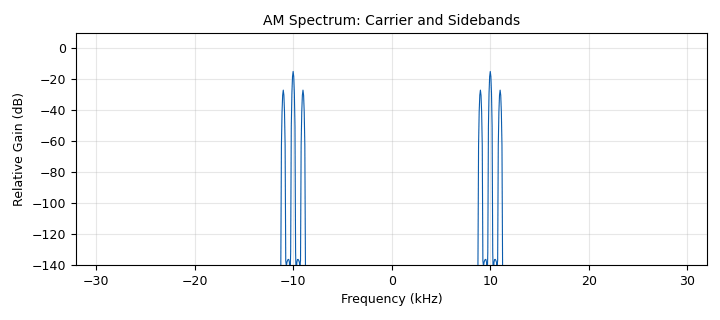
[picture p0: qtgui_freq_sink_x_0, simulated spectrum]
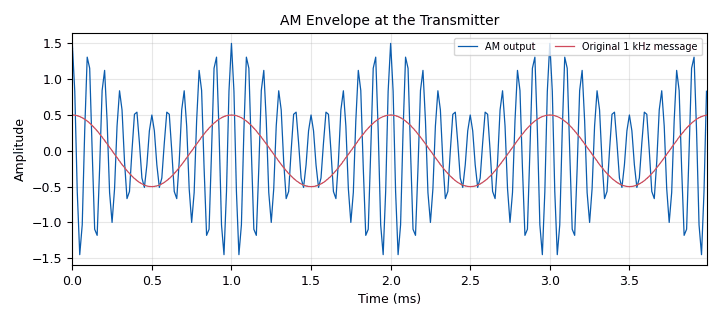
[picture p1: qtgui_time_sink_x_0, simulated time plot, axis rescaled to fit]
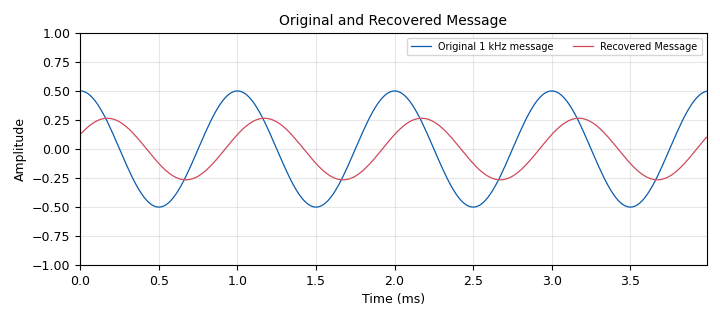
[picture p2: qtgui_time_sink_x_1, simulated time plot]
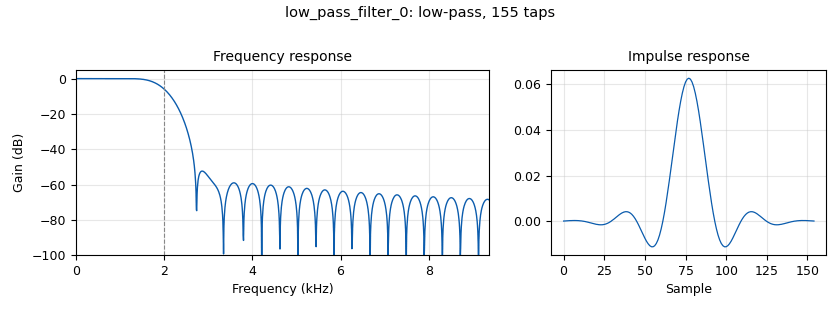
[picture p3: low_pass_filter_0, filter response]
options:
  parameters:
    author: Dhrubjun
    generate_options: qt_gui
    id: exp2
    output_language: python
    title: AM Envelope Detection
  states: {}

blocks:
- name: carrier_freq
  id: variable
  parameters:
    value: '10000'
  states: {}
- name: message_freq
  id: variable
  parameters:
    value: '1000'
  states: {}
- name: mu
  id: variable_qtgui_range
  parameters:
    label: Modulation Index (μ)
    start: '0'
    step: '0.1'
    stop: '2'
    value: '0.5'
  states: {}
- name: samp_rate
  id: variable
  parameters:
    value: '64000'
  states: {}
- name: analog_const_source_x_0
  id: analog_const_source_x
  parameters:
    const: '1'
    type: float
  states: {}
- name: analog_sig_source_x_0
  id: analog_sig_source_x
  parameters:
    amp: mu
    freq: message_freq
    offset: '0'
    phase: '0'
    samp_rate: samp_rate
    type: float
    waveform: analog.GR_COS_WAVE
  states: {}
- name: analog_sig_source_x_0_0
  id: analog_sig_source_x
  parameters:
    amp: '1'
    freq: carrier_freq
    offset: '0'
    phase: '0'
    samp_rate: samp_rate
    type: float
    waveform: analog.GR_COS_WAVE
  states: {}
- name: blocks_abs_xx_0
  id: blocks_abs_xx
  parameters:
    type: float
  states: {}
- name: blocks_add_xx_0
  id: blocks_add_xx
  parameters:
    type: float
  states: {}
- name: blocks_multiply_xx_0
  id: blocks_multiply_xx
  parameters:
    type: float
  states: {}
- name: blocks_throttle2_0
  id: blocks_throttle2
  parameters:
    samples_per_second: samp_rate
    type: float
  states: {}
- name: dc_blocker_xx_0
  id: dc_blocker_xx
  parameters:
    length: '32'
    long_form: 'True'
    type: ff
  states: {}
- name: low_pass_filter_0
  id: low_pass_filter
  parameters:
    cutoff_freq: '2000'
    decim: '1'
    gain: '1'
    samp_rate: samp_rate
    type: fir_filter_fff
    width: '1000'
    win: window.WIN_HAMMING
  states: {}
- name: qtgui_freq_sink_x_0
  id: qtgui_freq_sink_x
  parameters:
    bw: samp_rate
    fc: '0'
    fftsize: '1024'
    gui_hint: (0,1,1,1)
    name: 'AM Spectrum: Carrier and Sidebands'
    type: float
  states: {}
- name: qtgui_time_sink_x_0
  id: qtgui_time_sink_x
  parameters:
    gui_hint: (0,0,1,1)
    label1: AM output
    label2: Original 1 kHz message
    name: AM Envelope at the Transmitter
    nconnections: '2'
    size: '256'
    srate: samp_rate
    type: float
  states: {}
- name: qtgui_time_sink_x_1
  id: qtgui_time_sink_x
  parameters:
    gui_hint: (1,0,1,2)
    label1: Original 1 kHz message
    label2: Recovered Message
    name: Original and Recovered Message
    nconnections: '2'
    size: '256'
    srate: samp_rate
    type: float
  states: {}

connections:
- [analog_const_source_x_0, '0', blocks_add_xx_0, '1']
- [analog_sig_source_x_0, '0', blocks_add_xx_0, '0']
- [analog_sig_source_x_0, '0', qtgui_time_sink_x_0, '1']
- [analog_sig_source_x_0, '0', qtgui_time_sink_x_1, '0']
- [analog_sig_source_x_0_0, '0', blocks_multiply_xx_0, '1']
- [blocks_abs_xx_0, '0', low_pass_filter_0, '0']
- [blocks_add_xx_0, '0', blocks_multiply_xx_0, '0']
- [blocks_multiply_xx_0, '0', blocks_throttle2_0, '0']
- [blocks_throttle2_0, '0', blocks_abs_xx_0, '0']
- [blocks_throttle2_0, '0', qtgui_freq_sink_x_0, '0']
- [blocks_throttle2_0, '0', qtgui_time_sink_x_0, '0']
- [dc_blocker_xx_0, '0', qtgui_time_sink_x_1, '1']
- [low_pass_filter_0, '0', dc_blocker_xx_0, '0']

metadata:
  file_format: 1
  grc_version: 3.10.12.0
